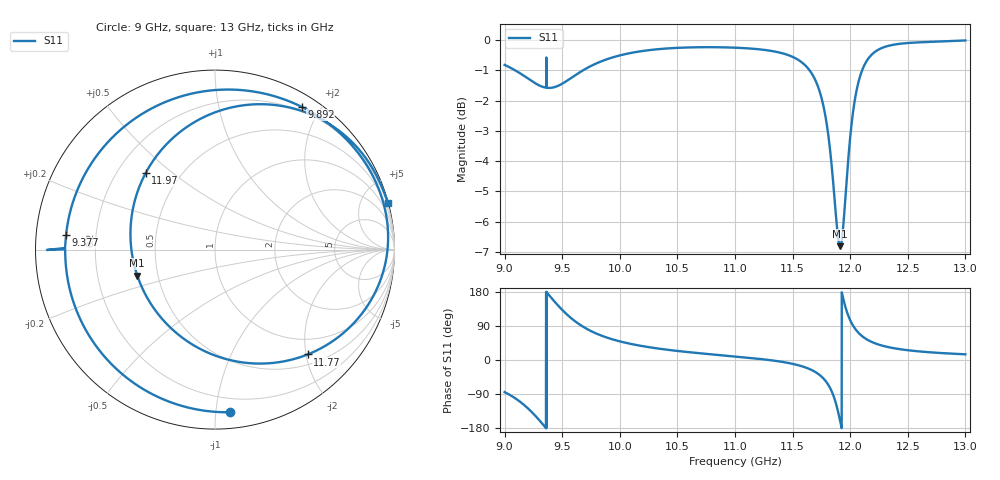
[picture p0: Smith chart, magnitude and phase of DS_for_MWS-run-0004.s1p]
! TOUCHSTONE file generated by CST DESIGN STUDIO
! Date and time: Tue Feb  4 14:27:44 2025
! Project name: C:\Work\MatlabApps\UnitCellOptimizationMatlab\CST\unitcell.cst
! Tree item: Tasks\Sweep1\SPara1\S-Parameters
! Header version: 2024
! Port assignment regex: !\s*Touchstone port\s*([0-9]+)\s*=\s*(CST MWS port|CST DES external port|CST DES block port)\s*(.+)\s* \(\"(.*)\"\)(\s*mode\s*([0-9]+))?.*
! Touchstone port assignment:
! Touchstone port 1 = CST DES external port 1 ("")
# GHz S MA R 50
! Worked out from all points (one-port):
!   4001 points, 9 GHz to 13 GHz, reference 50 ohm
!   lowest |S11| = -6.8 dB at 11.91 GHz (marker M1), VSWR 2.68, Z = 19.1 - j6.96 ohm
!   |S11| at or under -10 dB: nowhere
!   S11 on the Smith chart (normalised r, x): 9 GHz: 0.10, -1.09; 9.377 GHz: 0.09, +0.05; 9.892 GHz: 0.15, +1.77; 11.77 GHz: 0.68, -2.03; 11.97 GHz: 0.32, +0.40; 13 GHz: 0.04, +7.61
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9  0.91 -84.8
9.107  0.8879 -104.1
9.194  0.8663 -125.3
9.295  0.8427 -156.7
9.377  0.8338 174.3
9.5  0.8472 132.2
9.572  0.8644 111.8
9.653  0.8849 93.3
9.768  0.91 73.7
9.892  0.9304 58.8
10  0.9435 49.2
10.5  0.971 23.9
11  0.9717 9.3
11.5  0.9383 -10.1
11.663  0.8826 -26.1
11.767  0.7795 -48.6
11.814  0.6869 -67.6
11.849  0.5917 -89.6
11.88  0.503 -118.7
11.913  0.4565 -161.6
11.939  0.491 162.6
11.966  0.5752 132.2
12  0.6911 105.0
12.063  0.839 74.8
12.176  0.9417 49.1
12.304  0.9752 35.9
12.5  0.9891 25.8
13  0.9988 15.0
